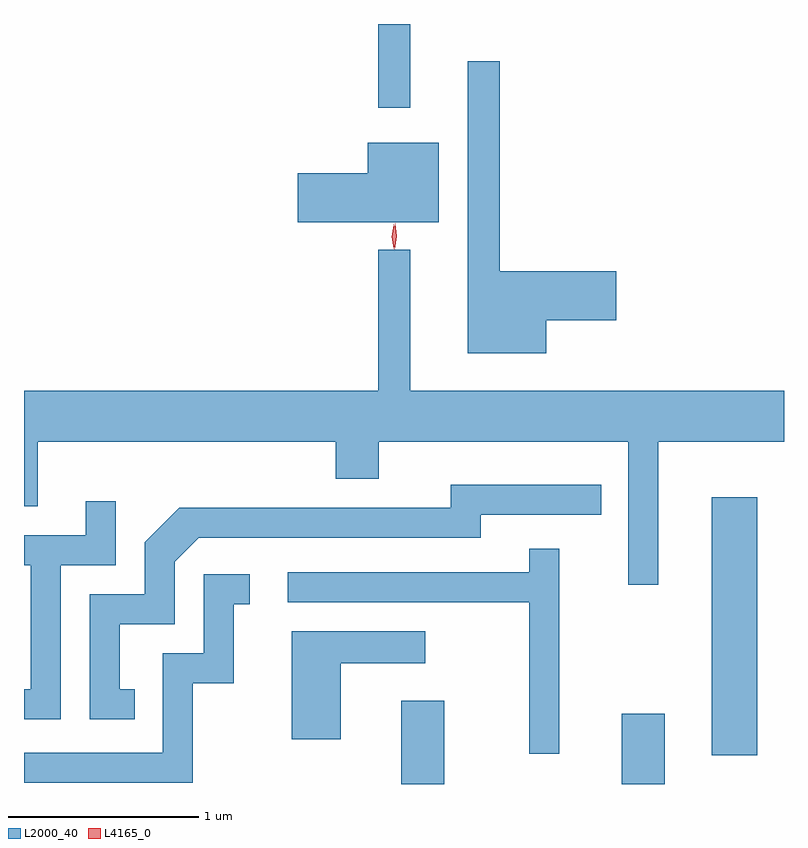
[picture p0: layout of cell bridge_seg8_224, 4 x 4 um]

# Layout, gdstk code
import gdstk
lib = gdstk.Library(unit=1e-6, precision=1e-09)
def R(c, l, rs):  # rectangles x0, y0, x1, y1
    for r in rs: c.add(gdstk.rectangle(r[:2], r[2:], *l))
def P(c, l, *ps):  # polygons
    for p in ps: c.add(gdstk.Polygon(p, *l))
L2000_40 = (2000, 40)
L4165_0 = (4165, 0)

bridge_seg8_224 = lib.new_cell('bridge_seg8_224')
R(bridge_seg8_224, L2000_40, [(1036.871,1898.995,1037.099,1899.434), (1038.031,1898.995,1038.259,1899.364), (1038.506,1899.146,1038.744,1900.504), (1036.751,1902.553,1036.919,1902.995)])
P(bridge_seg8_224, L2000_40, [(1037.634,1901.436),(1038.004,1901.436),(1038.004,1901.694),(1037.389,1901.694),(1037.389,1902.798),(1037.221,1902.798),(1037.221,1901.261),(1037.634,1901.261)],
  [(1037.069,1902.369),(1036.696,1902.369),(1036.696,1902.209),(1036.326,1902.209),(1036.326,1901.951),(1037.069,1901.951)],
  [(1038.224,1900.796),(1038.886,1900.796),(1038.886,1901.064),(1036.919,1901.064),(1036.919,1901.808),(1036.751,1901.808),(1036.751,1901.064),(1034.886,1901.064),(1034.886,1900.456),(1034.959,1900.456),(1034.959,1900.796),(1036.526,1900.796),(1036.526,1900.601),(1036.754,1900.601),(1036.754,1900.796),(1038.066,1900.796),(1038.066,1900.043),(1038.224,1900.043)],
  [(1035.468,1899.494),(1035.389,1899.494),(1035.389,1899.836),(1035.679,1899.836),(1035.679,1900.164),(1035.806,1900.291),(1037.289,1900.291),(1037.289,1900.411),(1037.923,1900.411),(1037.923,1900.569),(1037.131,1900.569),(1037.131,1900.449),(1035.704,1900.449),(1035.521,1900.267),(1035.521,1899.994),(1035.231,1899.994),(1035.231,1899.336),(1035.468,1899.336)],
  [(1035.079,1900.146),(1035.369,1900.146),(1035.369,1900.483),(1035.211,1900.483),(1035.211,1900.304),(1034.886,1900.304),(1034.886,1900.146),(1034.921,1900.146),(1034.921,1899.494),(1034.886,1899.494),(1034.886,1899.336),(1035.079,1899.336)],
  [(1037.704,1900.233),(1037.546,1900.233),(1037.546,1900.109),(1036.273,1900.109),(1036.273,1899.951),(1037.546,1899.951),(1037.546,1899.153),(1037.704,1899.153)],
  [(1035.774,1899.526),(1035.989,1899.526),(1035.989,1899.941),(1036.073,1899.941),(1036.073,1900.099),(1035.831,1900.099),(1035.831,1899.684),(1035.616,1899.684),(1035.616,1899.159),(1034.886,1899.159),(1034.886,1899.001),(1035.774,1899.001)],
  [(1036.554,1899.631),(1036.998,1899.631),(1036.998,1899.799),(1036.296,1899.799),(1036.296,1899.231),(1036.554,1899.231)])
P(bridge_seg8_224, L4165_0, [(1036.837,1901.81),(1036.829,1901.878),(1036.839,1901.945),(1036.839,1901.946),(1036.84,1901.945),(1036.848,1901.878),(1036.838,1901.81),(1036.838,1901.81)],
  [(1036.832,1901.813),(1036.832,1901.813),(1036.822,1901.876),(1036.832,1901.939),(1036.832,1901.94),(1036.833,1901.939),(1036.842,1901.876),(1036.833,1901.813)])

lib.write_gds('bridge_seg8_224.gds')
